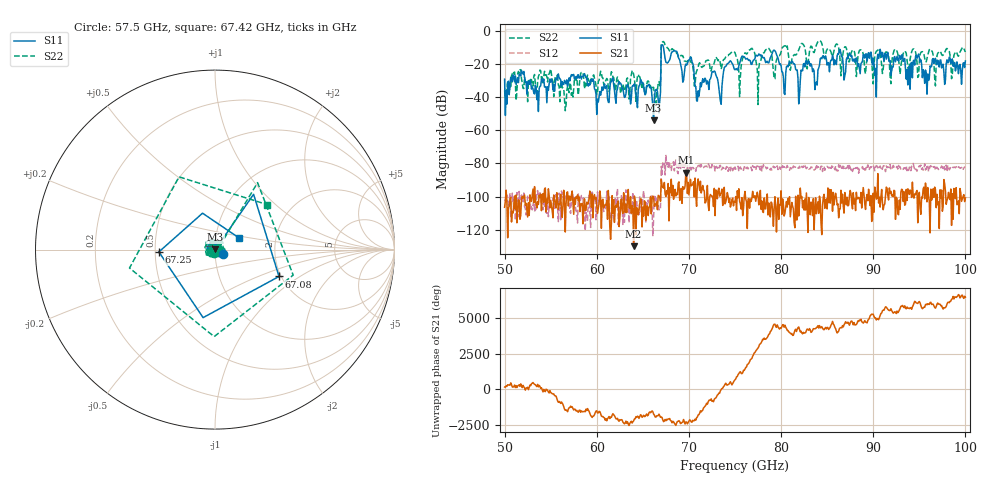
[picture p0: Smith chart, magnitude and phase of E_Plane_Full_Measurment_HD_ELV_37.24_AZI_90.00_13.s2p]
! 11/26/2026 3:20:45 PM
! C:\ANRITSUVNA\TEMP\TEMP.S2P
! CHANNEL.1
! TR.MEASUREMENT
! RAW.DATA
# HZ S RI R 50.0
! FREQ.HZ  S11RE  S11IM  S21RE  S21IM  S12RE  S12IM  S22RE  S22IM
!; PortSelection: Port_12
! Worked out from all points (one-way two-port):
!   601 points, 50 GHz to 100 GHz, reference 50 ohm
!   highest |S21| = -85.48 dB at 69.67 GHz (marker M1); lowest = -130.0 dB at 64 GHz (marker M2)
!   lowest |S11| = -53.8 dB at 66.17 GHz (marker M3), VSWR 1.00, Z = 50.1 + j0.148 ohm
!   |S11| at or under -10 dB: start of sweep to 67 GHz; 67.25 GHz to end of sweep
!   |S22| runs from -48.1 to -5.6 dB; largest |S21 - S12| = 0.00019
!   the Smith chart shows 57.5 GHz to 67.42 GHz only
!   S11 on the Smith chart (normalised r, x): 57.5 GHz: 1.09, -0.05; 67.08 GHz: 1.95, -0.69; 67.25 GHz: 0.52, -0.02; 67.42 GHz: 1.29, +0.18
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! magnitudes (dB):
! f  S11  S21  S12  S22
! 50 GHz  -29.0  -106.5  -102.3  -35.8
! 57.5 GHz  -26.2  -110.7  -101.6  -34.7
! 58.42 GHz  -27.2  -104.1  -99.3  -24.7
! 60.17 GHz  -42.8  -107.2  -104.3  -30.4
! 64 GHz  -33.1  -130.0  -105.1  -26.1
! 66.17 GHz  -53.8  -100.6  -114.0  -34.0
! 66.67 GHz  -41.5  -99.3  -104.6  -31.7
! 67.08 GHz  -8.2  -93.3  -86.7  -6.8
! 67.25 GHz  -10.1  -94.9  -78.8  -6.2
! 67.42 GHz  -16.6  -98.6  -86.9  -8.3
! 69.67 GHz  -19.9  -85.5  -82.0  -18.3
! 70.25 GHz  -15.9  -93.6  -84.7  -18.8
! 70.92 GHz  -42.3  -92.3  -82.4  -23.1
! 75 GHz  -23.3  -103.3  -82.1  -13.0
! 79.25 GHz  -11.5  -107.1  -82.6  -28.8
! 80.25 GHz  -27.8  -104.6  -82.0  -9.3
! 83.42 GHz  -24.4  -111.5  -82.4  -10.8
! 91.67 GHz  -16.6  -102.0  -82.1  -15.2
! 93.75 GHz  -32.5  -95.3  -82.8  -21.3
! 94.83 GHz  -15.1  -115.8  -82.6  -27.9
! 95.83 GHz  -38.1  -103.2  -80.8  -16.5
! 100 GHz  -18.0  -100.8  -82.2  -12.6
